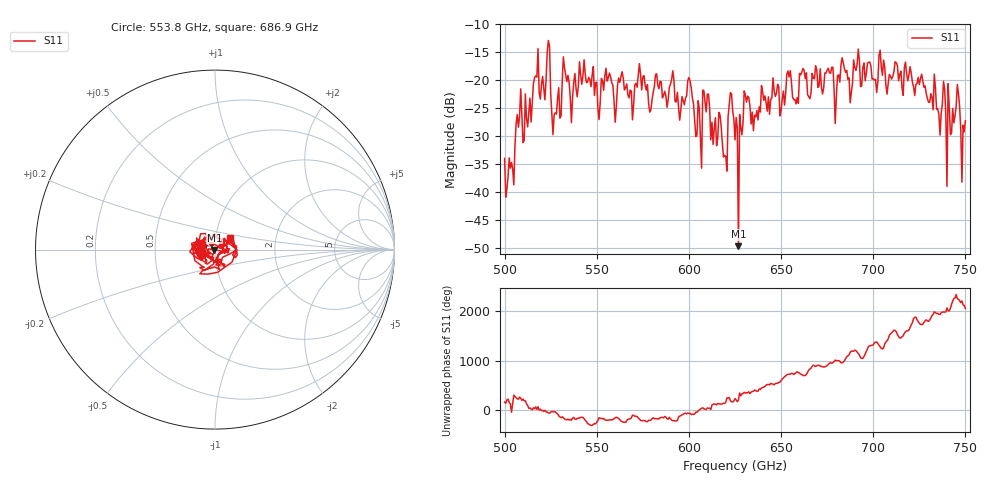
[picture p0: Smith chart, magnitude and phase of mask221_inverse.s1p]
!Created with skrf (http://scikit-rf.org).
# GHz S MA R 50.0
!freq magS11 angS11
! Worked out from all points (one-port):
!   401 points, 500 GHz to 750 GHz, reference 50 ohm
!   lowest |S11| = -49.7 dB at 626.9 GHz (marker M1), VSWR 1.01, Z = 49.7 - j0.149 ohm
!   |S11| at or under -10 dB: start of sweep to end of sweep
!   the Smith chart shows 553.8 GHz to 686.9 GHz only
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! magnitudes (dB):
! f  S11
! 500 GHz  -34.0
! 513.8 GHz  -23.2
! 516.9 GHz  -19.2
! 520.6 GHz  -19.3
! 523.8 GHz  -12.9
! 526.9 GHz  -26.1
! 531.2 GHz  -20.3
! 562.5 GHz  -20.4
! 579.4 GHz  -25.3
! 590.6 GHz  -19.9
! 593.8 GHz  -22.2
! 600.6 GHz  -20.1
! 605.6 GHz  -25.1
! 609.4 GHz  -25.7
! 619.4 GHz  -33.5
! 622.5 GHz  -22.2
! 625 GHz  -30.7
! 626.9 GHz  -49.7
! 631.2 GHz  -23.9
! 635 GHz  -29.0
! 656.2 GHz  -23.0
! 676.9 GHz  -18.8
! 680 GHz  -22.9
! 683.8 GHz  -16.9
! 687.5 GHz  -24.1
! 690.6 GHz  -18.3
! 718.8 GHz  -20.1
! 750 GHz  -27.3
